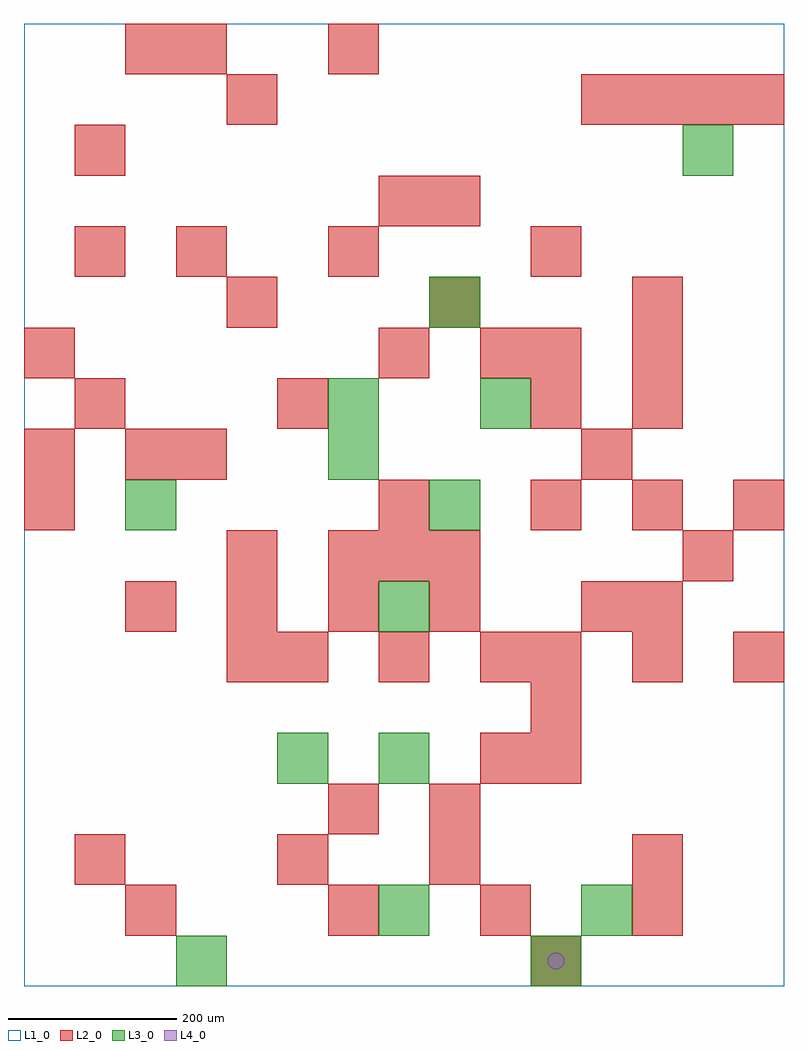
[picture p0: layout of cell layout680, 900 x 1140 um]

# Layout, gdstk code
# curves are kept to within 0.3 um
import gdstk
lib = gdstk.Library(unit=1e-6, precision=1e-09)
def R(c, l, rs):  # rectangles x0, y0, x1, y1
    for r in rs: c.add(gdstk.rectangle(r[:2], r[2:], *l))
def A(c, l, x, y, w, h, nx, ny, dx, dy):  # array of equal rectangles
    R(c, l, [(x+i*dx, y+j*dy, x+i*dx+w, y+j*dy+h) for i in range(nx) for j in range(ny)])
def P(c, l, *ps):  # polygons
    for p in ps: c.add(gdstk.Polygon(p, *l))
L1_0 = (1, 0)
L2_0 = (2, 0)
L3_0 = (3, 0)
L4_0 = (4, 0)

layout680 = lib.new_cell('layout680')
R(layout680, L1_0, [(0,0,900,1140)])
A(layout680, L2_0, 360, 60, 60, 60, 3, 1, 180, 0)
A(layout680, L2_0, 300, 360, 60, 60, 3, 1, 120, 0)
A(layout680, L2_0, 600, 360, 60, 60, 3, 2, 120, 180)
A(layout680, L2_0, 120, 420, 60, 60, 4, 1, 120, 0)
A(layout680, L2_0, 360, 480, 60, 60, 3, 1, 60, 0)
A(layout680, L2_0, 420, 540, 60, 60, 1, 3, 0, 180)
A(layout680, L2_0, 180, 600, 60, 60, 1, 3, 0, 240)
A(layout680, L2_0, 240, 780, 60, 60, 3, 1, 240, 0)
A(layout680, L2_0, 660, 1020, 60, 60, 4, 1, 60, 0)
R(layout680, L2_0, [(600,0,660,60), (120,60,180,120), (60,120,120,180), (300,120,360,180), (480,120,540,180), (720,120,780,180), (360,180,420,240), (480,180,540,240), (540,240,600,300), (600,240,660,300), (600,300,660,360), (240,360,300,420), (660,420,720,480), (720,420,780,480), (240,480,300,540), (780,480,840,540), (0,540,60,600), (0,600,60,660), (120,600,180,660), (660,600,720,660), (60,660,120,720), (300,660,360,720), (600,660,660,720), (720,660,780,720), (0,720,60,780), (540,720,600,780), (600,720,660,780), (720,720,780,780), (60,840,120,900), (360,840,420,900), (600,840,660,900), (480,900,540,960), (60,960,120,1020), (240,1020,300,1080), (120,1080,180,1140), (360,1080,420,1140)])
A(layout680, L3_0, 420, 60, 60, 60, 1, 3, 0, 180)
R(layout680, L3_0, [(180,0,240,60), (600,0,660,60), (660,60,720,120), (300,240,360,300), (120,540,180,600), (480,540,540,600), (360,600,420,660), (360,660,420,720), (540,660,600,720), (480,780,540,840), (780,960,840,1020)])
P(layout680, L4_0, [(640,30),(639.239,33.827),(637.071,37.071),(633.827,39.239),(630,40),(626.173,39.239),(622.929,37.071),(620.761,33.827),(620,30),(620.761,26.173),(622.929,22.929),(626.173,20.761),(630,20),(633.827,20.761),(637.071,22.929),(639.239,26.173)])

lib.write_gds('layout680.gds')
